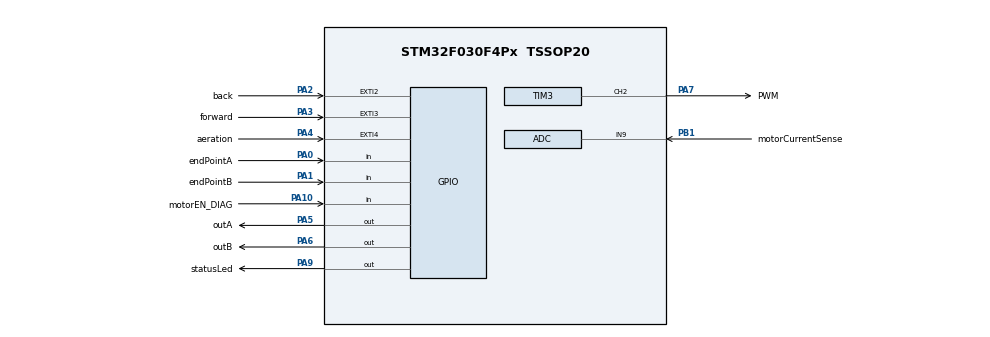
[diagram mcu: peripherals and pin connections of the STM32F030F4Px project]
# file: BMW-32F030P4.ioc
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ADC.ContinuousConvMode=ENABLE
ADC.DataAlign=ADC_DATAALIGN_RIGHT
ADC.Resolution=ADC_RESOLUTION_12B
ADC.SamplingTime=ADC_SAMPLETIME_28CYCLES_5
Mcu.Family=STM32F0
Mcu.Name=STM32F030F4Px
Mcu.Package=TSSOP20
Mcu.UserConstants=backTIM,TIM14;forwardTIM,TIM16;aerationTIM,TIM17
NVIC.EXTI2_3_IRQn=true\:0\:0\:false\:true\:true\:1\:true\:true\:true
NVIC.EXTI4_15_IRQn=true\:0\:0\:false\:true\:true\:2\:true\:true\:true
NVIC.TIM14_IRQn=true\:0\:0\:false\:false\:true\:true\:true\:true
NVIC.TIM16_IRQn=true\:0\:0\:false\:false\:true\:true\:true\:true
NVIC.TIM17_IRQn=true\:0\:0\:false\:false\:true\:true\:true\:true
NVIC.TIM1_BRK_UP_TRG_COM_IRQn=true\:0\:0\:false\:false\:true\:true\:true\:true
NVIC.TIM3_IRQn=true\:0\:0\:false\:false\:true\:true\:true\:true
PA0.GPIO_Label=endPointA
PA0.GPIO_PuPd=GPIO_PULLUP
PA0.Signal=GPIO_Input
PA1.GPIO_Label=endPointB
PA1.GPIO_PuPd=GPIO_PULLUP
PA1.Signal=GPIO_Input
PA10.GPIO_Label=motorEN_DIAG
PA10.GPIO_PuPd=GPIO_PULLUP
PA10.Signal=GPIO_Input
PA13.Mode=Serial_Wire
PA13.Signal=SYS_SWDIO
PA14.Mode=Serial_Wire
PA14.Signal=SYS_SWCLK
PA2.GPIO_Label=back
PA2.GPIO_ModeDefaultEXTI=GPIO_MODE_IT_FALLING
PA2.GPIO_PuPd=GPIO_PULLUP
PA2.Signal=GPXTI2
PA3.GPIO_Label=forward
PA3.GPIO_ModeDefaultEXTI=GPIO_MODE_IT_FALLING
PA3.GPIO_PuPd=GPIO_PULLUP
PA3.Signal=GPXTI3
PA4.GPIO_Label=aeration
PA4.GPIO_ModeDefaultEXTI=GPIO_MODE_IT_FALLING
PA4.GPIO_PuPd=GPIO_PULLUP
PA4.Signal=GPXTI4
PA5.GPIO_Label=outA
PA5.GPIO_PuPd=GPIO_PULLDOWN
PA5.Signal=GPIO_Output
PA6.GPIO_Label=outB
PA6.GPIO_PuPd=GPIO_PULLDOWN
PA6.Signal=GPIO_Output
PA7.GPIO_Label=PWM
PA7.Signal=S_TIM3_CH2
PA9.GPIO_FMA9=__NULL
PA9.GPIO_Label=statusLed
PA9.GPIO_PuPd=GPIO_PULLDOWN
PA9.GPIO_Speed=GPIO_SPEED_FREQ_LOW
PA9.PinState=GPIO_PIN_RESET
PA9.Signal=GPIO_Output
PB1.GPIO_Label=motorCurrentSense
PB1.Mode=IN9
PB1.Signal=ADC_IN9
PF0-OSC_IN.Mode=HSE-External-Oscillator
PF0-OSC_IN.Signal=RCC_OSC_IN
PF1-OSC_OUT.Mode=HSE-External-Oscillator
PF1-OSC_OUT.Signal=RCC_OSC_OUT
ProjectManager.HeapSize=0x200
ProjectManager.StackSize=0x400
ProjectManager.TargetToolchain=STM32CubeIDE
RCC.AHBFreq_Value=48000000
RCC.APB1Freq_Value=48000000
RCC.APB1TimFreq_Value=48000000
RCC.HCLKFreq_Value=48000000
RCC.PLLMUL=RCC_PLL_MUL6
RCC.PLLSourceVirtual=RCC_PLLSOURCE_HSE
RCC.RTCClockSelection=RCC_RTCCLKSOURCE_HSE_DIV32
RCC.SYSCLKFreq_VALUE=48000000
RCC.SYSCLKSource=RCC_SYSCLKSOURCE_PLLCLK
SH.S_TIM3_CH2.0=TIM3_CH2,PWM Generation2 CH2
TIM1.AutoReloadPreload=TIM_AUTORELOAD_PRELOAD_ENABLE
TIM14.AutoReloadPreload=TIM_AUTORELOAD_PRELOAD_ENABLE
TIM14.Period=12500
TIM14.Prescaler=959
TIM16.AutoReloadPreload=TIM_AUTORELOAD_PRELOAD_ENABLE
TIM16.Period=12500
TIM16.Prescaler=959
TIM17.AutoReloadPreload=TIM_AUTORELOAD_PRELOAD_ENABLE
TIM17.Period=12500
TIM17.Prescaler=959
TIM3.Channel-PWM\ Generation2\ CH2=TIM_CHANNEL_2
TIM3.Period=2399
TIM3.Prescaler=1
TIM3.Pulse-PWM\ Generation2\ CH2=2279
VP_CRC_VS_CRC.Mode=CRC_Activate
VP_TIM14_VS_ClockSourceINT.Mode=Enable_Timer
VP_TIM14_VS_OPM.Mode=OPM_bit
VP_TIM16_VS_ClockSourceINT.Mode=Enable_Timer
VP_TIM16_VS_OPM.Mode=OPM_bit
VP_TIM17_VS_ClockSourceINT.Mode=Enable_Timer
VP_TIM17_VS_OPM.Mode=OPM_bit
VP_TIM1_VS_ClockSourceINT.Mode=Internal
VP_TIM3_VS_ClockSourceINT.Mode=Internal
board=custom

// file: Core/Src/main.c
/* USER CODE BEGIN Header */
/**
  ******************************************************************************
  * @file           : main.c
  * @brief          : Main program body
  ******************************************************************************
  * @attention
  *
  * <h2><center>&copy; Copyright (c) 2020 STMicroelectronics.
  * All rights reserved.</center></h2>
  *
  * This software component is licensed by ST under BSD 3-Clause license,
  * the "License"; You may not use this file except in compliance with the
  * License. You may obtain a copy of the License at:
  *                        opensource.org/licenses/BSD-3-Clause
  *
  ******************************************************************************
  */
/* USER CODE END Header */
#include "main.h"

CRC_HandleTypeDef hcrc;

/* USER CODE BEGIN PV */
//uint32_t abc = 0;
volatile bool longPush = false;
volatile bool motorEnable = false;
volatile uint8_t target = 0x00U;
volatile uint8_t endPoint = 0x00U;

volatile bool stopAfterLongPush = false;

volatile uint32_t aeration_time_irq = 0;
volatile uint32_t forward_time_irq = 0;
volatile uint32_t back_time_irq = 0;

volatile bool longPushLock = false;
volatile bool enableWrite = false;

volatile uint32_t res_addr = 0;
myBuf_t flashBuffer[BUFFSIZE] = {0x22, 0x00};

volatile MotorState motorState = BRAKETOGND;
volatile Scenario selectScenario = WAIT;

/* USER CODE END PV */

void SystemClock_Config(void);
void MX_GPIO_Init(void);
void MX_TIM3_Init(void);
void MX_ADC_Init(void);
void MX_TIM1_Init(void);
static void MX_TIM14_Init(void);
static void MX_TIM16_Init(void);
static void MX_TIM17_Init(void);
static void MX_CRC_Init(void);
static void MX_NVIC_Init(void);

int main(void)
{

  /* MCU Configuration--------------------------------------------------------*/

  /* Reset of all peripherals, Initializes the Flash interface and the Systick. */
  HAL_Init();

  /* Configure the system clock */
  SystemClock_Config();

  /* Initialize all configured peripherals */
  MX_GPIO_Init();
  MX_TIM3_Init();
  MX_ADC_Init();
  MX_TIM1_Init();
  MX_TIM14_Init();
  MX_TIM16_Init();
  MX_TIM17_Init();
  MX_CRC_Init();

  /* Initialize interrupts */
  MX_NVIC_Init();
  /* USER CODE BEGIN 2 */

  /* PWM_Start */
  LL_TIM_CC_EnableChannel(TIM3, LL_TIM_CHANNEL_CH2);
  LL_TIM_EnableCounter(TIM3);

  /* timer start */
  LL_TIM_EnableIT_UPDATE(TIM1);
  LL_TIM_EnableCounter(TIM1);

//  HAL_ADCEx_Calibration_Start(&hadc);
//  HAL_ADC_Start(&hadc);

  MotorDriver__init(FULLBRIDGE);
  LL_GPIO_ResetOutputPin(statusLed_GPIO_Port, statusLed_Pin);
  res_addr = flash_search_address(STARTADDR, BUFFSIZE * DATAWIDTH);
  read_last_data_in_flash(flashBuffer);
  while (flashBuffer[subTarget] == 0x22) {
    read_last_data_in_flash(flashBuffer);
    LL_GPIO_ResetOutputPin(statusLed_GPIO_Port, statusLed_Pin);
  }
  /* USER CODE END 2 */

  /* Infinite loop */
  /* USER CODE BEGIN WHILE */
#pragma clang diagnostic push
#pragma ide diagnostic ignored "EndlessLoop"
  while (1) {
    longPush = false;
    if (!(LL_GPIO_ReadInputPort(back_GPIO_Port) & back_Pin)) {
      if ((HAL_GetTick() - back_time_irq) > logPushTime) {
        // засекли нажатие длинее 500мс
        if (longPushLock) {
          longPush = false;
        } else {
          longPush = true;
        }
      }
    }

    if (!(LL_GPIO_ReadInputPort(forward_GPIO_Port) & forward_Pin)) {
      if ((HAL_GetTick() - forward_time_irq) > logPushTime) {
        // засекли нажатие длинее 500мс
        if (longPushLock) {
          longPush = false;
        } else {
          longPush = true;
        }
      }
    }

    if (!(LL_GPIO_ReadInputPort(aeration_GPIO_Port) & aeration_Pin)) {
      if ((HAL_GetTick() - aeration_time_irq) > logPushTime) {
        // засекли нажатие длинее 500мс
        if (longPushLock) {
          longPush = false;
        } else {
          longPush = true;
        }
      }
    }

    //abc = HAL_ADC_GetValue(&hadc);
    //abc = (3.33/4095)*abc; // значение напряжения на пине.

    if (!longPush && stopAfterLongPush) {
      motorEnable = false;
      stopAfterLongPush = false;
    }

    if (flashBuffer[subTarget] == toAeration) {
      LL_GPIO_SetOutputPin(statusLed_GPIO_Port, statusLed_Pin);
      LL_GPIO_ResetOutputPin(statusLed_GPIO_Port, statusLed_Pin);
    }

    switch (selectScenario) {
      case BACK:
        LL_GPIO_SetOutputPin(statusLed_GPIO_Port, statusLed_Pin);
        backScenario();
        break;
      case FORWARD:
        LL_GPIO_SetOutputPin(statusLed_GPIO_Port, statusLed_Pin);
        forwardScenario();
        break;
      case CLOSED_BACK:
        LL_GPIO_SetOutputPin(statusLed_GPIO_Port, statusLed_Pin);
        closedBackScenario();
        break;
      case CLOSED_FRONT:
        LL_GPIO_SetOutputPin(statusLed_GPIO_Port, statusLed_Pin);
        closedFrontScenario();
        break;
      case WAIT:
        LL_GPIO_ResetOutputPin(statusLed_GPIO_Port, statusLed_Pin);
      default:
        MotorDriver__turnOffMotor();
        motorEnable = false;
        break;
    }

    if (longPush) {
      MotorDriver__turnOnMotor(motorState);
      stopAfterLongPush = true;
    } else {
      if (motorEnable) {
        MotorDriver__turnOnMotor(motorState);
      } else {
        MotorDriver__turnOffMotor();
      }
    }

    /* USER CODE END WHILE */

    /* USER CODE BEGIN 3 */
  }
#pragma clang diagnostic pop
  /* USER CODE END 3 */
}

void SystemClock_Config(void)
{
  LL_FLASH_SetLatency(LL_FLASH_LATENCY_1);
  while(LL_FLASH_GetLatency() != LL_FLASH_LATENCY_1)
  {
  }
  LL_RCC_HSE_Enable();

   /* Wait till HSE is ready */
  while(LL_RCC_HSE_IsReady() != 1)
  {

  }
  LL_RCC_HSI14_Enable();

   /* Wait till HSI14 is ready */
  while(LL_RCC_HSI14_IsReady() != 1)
  {

  }
  LL_RCC_HSI14_SetCalibTrimming(16);
  LL_RCC_PLL_ConfigDomain_SYS(LL_RCC_PLLSOURCE_HSE_DIV_1, LL_RCC_PLL_MUL_6);
  LL_RCC_PLL_Enable();

   /* Wait till PLL is ready */
  while(LL_RCC_PLL_IsReady() != 1)
  {

  }
  LL_RCC_SetAHBPrescaler(LL_RCC_SYSCLK_DIV_1);
  LL_RCC_SetAPB1Prescaler(LL_RCC_APB1_DIV_1);
  LL_RCC_SetSysClkSource(LL_RCC_SYS_CLKSOURCE_PLL);

   /* Wait till System clock is ready */
  while(LL_RCC_GetSysClkSource() != LL_RCC_SYS_CLKSOURCE_STATUS_PLL)
  {

  }
  LL_SetSystemCoreClock(48000000);

   /* Update the time base */
  if (HAL_InitTick (TICK_INT_PRIORITY) != HAL_OK)
  {
    Error_Handler();
  }
  LL_RCC_HSI14_EnableADCControl();
}

/**
  * @brief NVIC Configuration.
  * @retval None
  */
static void MX_NVIC_Init(void)
{
  /* EXTI2_3_IRQn interrupt configuration */
  NVIC_SetPriority(EXTI2_3_IRQn, 0);
  NVIC_EnableIRQ(EXTI2_3_IRQn);
  /* EXTI4_15_IRQn interrupt configuration */
  NVIC_SetPriority(EXTI4_15_IRQn, 0);
  NVIC_EnableIRQ(EXTI4_15_IRQn);
}

void MX_ADC_Init(void)
{

  LL_ADC_InitTypeDef ADC_InitStruct = {0};
  LL_ADC_REG_InitTypeDef ADC_REG_InitStruct = {0};

  LL_GPIO_InitTypeDef GPIO_InitStruct = {0};

  /* Peripheral clock enable */
  LL_APB1_GRP2_EnableClock(LL_APB1_GRP2_PERIPH_ADC1);

  LL_AHB1_GRP1_EnableClock(LL_AHB1_GRP1_PERIPH_GPIOB);
  /**ADC GPIO Configuration
  PB1   ------> ADC_IN9
  */
  GPIO_InitStruct.Pin = motorCurrentSense_Pin;
  GPIO_InitStruct.Mode = LL_GPIO_MODE_ANALOG;
  GPIO_InitStruct.Pull = LL_GPIO_PULL_NO;
  LL_GPIO_Init(motorCurrentSense_GPIO_Port, &GPIO_InitStruct);

  /** Configure Regular Channel
  */
  LL_ADC_REG_SetSequencerChAdd(ADC1, LL_ADC_CHANNEL_9);
  /** Configure the global features of the ADC (Clock, Resolution, Data Alignment and number of conversion)
  */
  ADC_InitStruct.Clock = LL_ADC_CLOCK_ASYNC;
  ADC_InitStruct.Resolution = LL_ADC_RESOLUTION_12B;
  ADC_InitStruct.DataAlignment = LL_ADC_DATA_ALIGN_RIGHT;
  ADC_InitStruct.LowPowerMode = LL_ADC_LP_MODE_NONE;
  LL_ADC_Init(ADC1, &ADC_InitStruct);
  ADC_REG_InitStruct.TriggerSource = LL_ADC_REG_TRIG_SOFTWARE;
  ADC_REG_InitStruct.SequencerDiscont = LL_ADC_REG_SEQ_DISCONT_DISABLE;
  ADC_REG_InitStruct.ContinuousMode = LL_ADC_REG_CONV_CONTINUOUS;
  ADC_REG_InitStruct.DMATransfer = LL_ADC_REG_DMA_TRANSFER_LIMITED;
  ADC_REG_InitStruct.Overrun = LL_ADC_REG_OVR_DATA_PRESERVED;
  LL_ADC_REG_Init(ADC1, &ADC_REG_InitStruct);
  LL_ADC_REG_SetSequencerScanDirection(ADC1, LL_ADC_REG_SEQ_SCAN_DIR_FORWARD);
  LL_ADC_SetSamplingTimeCommonChannels(ADC1, LL_ADC_SAMPLINGTIME_28CYCLES_5);

}

static void MX_CRC_Init(void)
{

  hcrc.Instance = CRC;
  hcrc.Init.DefaultInitValueUse = DEFAULT_INIT_VALUE_ENABLE;
  hcrc.Init.InputDataInversionMode = CRC_INPUTDATA_INVERSION_NONE;
  hcrc.Init.OutputDataInversionMode = CRC_OUTPUTDATA_INVERSION_DISABLE;
  hcrc.InputDataFormat = CRC_INPUTDATA_FORMAT_BYTES;
  if (HAL_CRC_Init(&hcrc) != HAL_OK)
  {
    Error_Handler();
  }

}

void MX_TIM1_Init(void)
{

  LL_TIM_InitTypeDef TIM_InitStruct = {0};

  /* Peripheral clock enable */
  LL_APB1_GRP2_EnableClock(LL_APB1_GRP2_PERIPH_TIM1);

  /* TIM1 interrupt Init */
  NVIC_SetPriority(TIM1_BRK_UP_TRG_COM_IRQn, 0);
  NVIC_EnableIRQ(TIM1_BRK_UP_TRG_COM_IRQn);

  TIM_InitStruct.Prescaler = 0;
  TIM_InitStruct.CounterMode = LL_TIM_COUNTERMODE_UP;
  TIM_InitStruct.Autoreload = 65535;
  TIM_InitStruct.ClockDivision = LL_TIM_CLOCKDIVISION_DIV1;
  TIM_InitStruct.RepetitionCounter = 0;
  LL_TIM_Init(TIM1, &TIM_InitStruct);
  LL_TIM_EnableARRPreload(TIM1);
  LL_TIM_SetClockSource(TIM1, LL_TIM_CLOCKSOURCE_INTERNAL);
  LL_TIM_SetTriggerOutput(TIM1, LL_TIM_TRGO_RESET);
  LL_TIM_DisableMasterSlaveMode(TIM1);

}

void MX_TIM3_Init(void)
{

  LL_TIM_InitTypeDef TIM_InitStruct = {0};
  LL_TIM_OC_InitTypeDef TIM_OC_InitStruct = {0};

  LL_GPIO_InitTypeDef GPIO_InitStruct = {0};

  /* Peripheral clock enable */
  LL_APB1_GRP1_EnableClock(LL_APB1_GRP1_PERIPH_TIM3);

  /* TIM3 interrupt Init */
  NVIC_SetPriority(TIM3_IRQn, 0);
  NVIC_EnableIRQ(TIM3_IRQn);

  TIM_InitStruct.Prescaler = 1;
  TIM_InitStruct.CounterMode = LL_TIM_COUNTERMODE_UP;
  TIM_InitStruct.Autoreload = 2399;
  TIM_InitStruct.ClockDivision = LL_TIM_CLOCKDIVISION_DIV1;
  LL_TIM_Init(TIM3, &TIM_InitStruct);
  LL_TIM_DisableARRPreload(TIM3);
  LL_TIM_SetClockSource(TIM3, LL_TIM_CLOCKSOURCE_INTERNAL);
  LL_TIM_OC_EnablePreload(TIM3, LL_TIM_CHANNEL_CH2);
  TIM_OC_InitStruct.OCMode = LL_TIM_OCMODE_PWM1;
  TIM_OC_InitStruct.OCState = LL_TIM_OCSTATE_DISABLE;
  TIM_OC_InitStruct.OCNState = LL_TIM_OCSTATE_DISABLE;
  TIM_OC_InitStruct.CompareValue = 2279;
  TIM_OC_InitStruct.OCPolarity = LL_TIM_OCPOLARITY_HIGH;
  LL_TIM_OC_Init(TIM3, LL_TIM_CHANNEL_CH2, &TIM_OC_InitStruct);
  LL_TIM_OC_DisableFast(TIM3, LL_TIM_CHANNEL_CH2);
  LL_TIM_SetTriggerOutput(TIM3, LL_TIM_TRGO_RESET);
  LL_TIM_DisableMasterSlaveMode(TIM3);
  LL_AHB1_GRP1_EnableClock(LL_AHB1_GRP1_PERIPH_GPIOA);
  /**TIM3 GPIO Configuration
  PA7   ------> TIM3_CH2
  */
  GPIO_InitStruct.Pin = PWM_Pin;
  GPIO_InitStruct.Mode = LL_GPIO_MODE_ALTERNATE;
  GPIO_InitStruct.Speed = LL_GPIO_SPEED_FREQ_LOW;
  GPIO_InitStruct.OutputType = LL_GPIO_OUTPUT_PUSHPULL;
  GPIO_InitStruct.Pull = LL_GPIO_PULL_NO;
  GPIO_InitStruct.Alternate = LL_GPIO_AF_1;
  LL_GPIO_Init(PWM_GPIO_Port, &GPIO_InitStruct);

}

static void MX_TIM14_Init(void)
{

  LL_TIM_InitTypeDef TIM_InitStruct = {0};

  /* Peripheral clock enable */
  LL_APB1_GRP1_EnableClock(LL_APB1_GRP1_PERIPH_TIM14);

  /* TIM14 interrupt Init */
  NVIC_SetPriority(TIM14_IRQn, 0);
  NVIC_EnableIRQ(TIM14_IRQn);

  TIM_InitStruct.Prescaler = 959;
  TIM_InitStruct.CounterMode = LL_TIM_COUNTERMODE_UP;
  TIM_InitStruct.Autoreload = 12500;
  TIM_InitStruct.ClockDivision = LL_TIM_CLOCKDIVISION_DIV1;
  LL_TIM_Init(TIM14, &TIM_InitStruct);
  LL_TIM_EnableARRPreload(TIM14);
  LL_TIM_SetOnePulseMode(TIM14, LL_TIM_ONEPULSEMODE_SINGLE);

}

static void MX_TIM16_Init(void)
{

  LL_TIM_InitTypeDef TIM_InitStruct = {0};

  /* Peripheral clock enable */
  LL_APB1_GRP2_EnableClock(LL_APB1_GRP2_PERIPH_TIM16);

  /* TIM16 interrupt Init */
  NVIC_SetPriority(TIM16_IRQn, 0);
  NVIC_EnableIRQ(TIM16_IRQn);

  TIM_InitStruct.Prescaler = 959;
  TIM_InitStruct.CounterMode = LL_TIM_COUNTERMODE_UP;
  TIM_InitStruct.Autoreload = 12500;
  TIM_InitStruct.ClockDivision = LL_TIM_CLOCKDIVISION_DIV1;
  TIM_InitStruct.RepetitionCounter = 0;
  LL_TIM_Init(TIM16, &TIM_InitStruct);
  LL_TIM_EnableARRPreload(TIM16);
  LL_TIM_SetOnePulseMode(TIM16, LL_TIM_ONEPULSEMODE_SINGLE);

}

static void MX_TIM17_Init(void)
{

  LL_TIM_InitTypeDef TIM_InitStruct = {0};

  /* Peripheral clock enable */
  LL_APB1_GRP2_EnableClock(LL_APB1_GRP2_PERIPH_TIM17);

  /* TIM17 interrupt Init */
  NVIC_SetPriority(TIM17_IRQn, 0);
  NVIC_EnableIRQ(TIM17_IRQn);

  TIM_InitStruct.Prescaler = 959;
  TIM_InitStruct.CounterMode = LL_TIM_COUNTERMODE_UP;
  TIM_InitStruct.Autoreload = 12500;
  TIM_InitStruct.ClockDivision = LL_TIM_CLOCKDIVISION_DIV1;
  TIM_InitStruct.RepetitionCounter = 0;
  LL_TIM_Init(TIM17, &TIM_InitStruct);
  LL_TIM_EnableARRPreload(TIM17);
  LL_TIM_SetOnePulseMode(TIM17, LL_TIM_ONEPULSEMODE_SINGLE);

}

void MX_GPIO_Init(void)
{
  LL_EXTI_InitTypeDef EXTI_InitStruct = {0};
  LL_GPIO_InitTypeDef GPIO_InitStruct = {0};

  /* GPIO Ports Clock Enable */
  LL_AHB1_GRP1_EnableClock(LL_AHB1_GRP1_PERIPH_GPIOF);
  LL_AHB1_GRP1_EnableClock(LL_AHB1_GRP1_PERIPH_GPIOA);
  LL_AHB1_GRP1_EnableClock(LL_AHB1_GRP1_PERIPH_GPIOB);

  /**/
  LL_GPIO_ResetOutputPin(outA_GPIO_Port, outA_Pin);

  /**/
  LL_GPIO_ResetOutputPin(outB_GPIO_Port, outB_Pin);

  /**/
  LL_GPIO_ResetOutputPin(statusLed_GPIO_Port, statusLed_Pin);

  /**/
  GPIO_InitStruct.Pin = endPointA_Pin;
  GPIO_InitStruct.Mode = LL_GPIO_MODE_INPUT;
  GPIO_InitStruct.Pull = LL_GPIO_PULL_UP;
  LL_GPIO_Init(endPointA_GPIO_Port, &GPIO_InitStruct);

  /**/
  GPIO_InitStruct.Pin = endPointB_Pin;
  GPIO_InitStruct.Mode = LL_GPIO_MODE_INPUT;
  GPIO_InitStruct.Pull = LL_GPIO_PULL_UP;
  LL_GPIO_Init(endPointB_GPIO_Port, &GPIO_InitStruct);

  /**/
  GPIO_InitStruct.Pin = outA_Pin;
  GPIO_InitStruct.Mode = LL_GPIO_MODE_OUTPUT;
  GPIO_InitStruct.Speed = LL_GPIO_SPEED_FREQ_LOW;
  GPIO_InitStruct.OutputType = LL_GPIO_OUTPUT_PUSHPULL;
  GPIO_InitStruct.Pull = LL_GPIO_PULL_DOWN;
  LL_GPIO_Init(outA_GPIO_Port, &GPIO_InitStruct);

  /**/
  GPIO_InitStruct.Pin = outB_Pin;
  GPIO_InitStruct.Mode = LL_GPIO_MODE_OUTPUT;
  GPIO_InitStruct.Speed = LL_GPIO_SPEED_FREQ_LOW;
  GPIO_InitStruct.OutputType = LL_GPIO_OUTPUT_PUSHPULL;
  GPIO_InitStruct.Pull = LL_GPIO_PULL_DOWN;
  LL_GPIO_Init(outB_GPIO_Port, &GPIO_InitStruct);

  /**/
  GPIO_InitStruct.Pin = statusLed_Pin;
  GPIO_InitStruct.Mode = LL_GPIO_MODE_OUTPUT;
  GPIO_InitStruct.Speed = LL_GPIO_SPEED_FREQ_LOW;
  GPIO_InitStruct.OutputType = LL_GPIO_OUTPUT_PUSHPULL;
  GPIO_InitStruct.Pull = LL_GPIO_PULL_DOWN;
  LL_GPIO_Init(statusLed_GPIO_Port, &GPIO_InitStruct);

  /**/
  GPIO_InitStruct.Pin = motorEN_DIAG_Pin;
  GPIO_InitStruct.Mode = LL_GPIO_MODE_INPUT;
  GPIO_InitStruct.Pull = LL_GPIO_PULL_UP;
  LL_GPIO_Init(motorEN_DIAG_GPIO_Port, &GPIO_InitStruct);

  /**/
  LL_SYSCFG_SetEXTISource(LL_SYSCFG_EXTI_PORTA, LL_SYSCFG_EXTI_LINE2);

  /**/
  LL_SYSCFG_SetEXTISource(LL_SYSCFG_EXTI_PORTA, LL_SYSCFG_EXTI_LINE3);

  /**/
  LL_SYSCFG_SetEXTISource(LL_SYSCFG_EXTI_PORTA, LL_SYSCFG_EXTI_LINE4);

  /**/
  LL_GPIO_SetPinPull(back_GPIO_Port, back_Pin, LL_GPIO_PULL_UP);

  /**/
  LL_GPIO_SetPinPull(forward_GPIO_Port, forward_Pin, LL_GPIO_PULL_UP);

  /**/
  LL_GPIO_SetPinPull(aeration_GPIO_Port, aeration_Pin, LL_GPIO_PULL_UP);

  /**/
  LL_GPIO_SetPinMode(back_GPIO_Port, back_Pin, LL_GPIO_MODE_INPUT);

  /**/
  LL_GPIO_SetPinMode(forward_GPIO_Port, forward_Pin, LL_GPIO_MODE_INPUT);

  /**/
  LL_GPIO_SetPinMode(aeration_GPIO_Port, aeration_Pin, LL_GPIO_MODE_INPUT);

  /**/
  EXTI_InitStruct.Line_0_31 = LL_EXTI_LINE_2;
  EXTI_InitStruct.LineCommand = ENABLE;
  EXTI_InitStruct.Mode = LL_EXTI_MODE_IT;
  EXTI_InitStruct.Trigger = LL_EXTI_TRIGGER_FALLING;
  LL_EXTI_Init(&EXTI_InitStruct);

  /**/
  EXTI_InitStruct.Line_0_31 = LL_EXTI_LINE_3;
  EXTI_InitStruct.LineCommand = ENABLE;
  EXTI_InitStruct.Mode = LL_EXTI_MODE_IT;
  EXTI_InitStruct.Trigger = LL_EXTI_TRIGGER_FALLING;
  LL_EXTI_Init(&EXTI_InitStruct);

  /**/
  EXTI_InitStruct.Line_0_31 = LL_EXTI_LINE_4;
  EXTI_InitStruct.LineCommand = ENABLE;
  EXTI_InitStruct.Mode = LL_EXTI_MODE_IT;
  EXTI_InitStruct.Trigger = LL_EXTI_TRIGGER_FALLING;
  LL_EXTI_Init(&EXTI_InitStruct);

}

/* USER CODE BEGIN 4 */
void GPIO_EXTI_Callback(uint16_t GPIO_Pin) {
  enableWrite = true;
  if (GPIO_Pin == back_Pin) {
    selectScenario = WAIT;
    motorEnable = motorEnable == false;
    HAL_NVIC_DisableIRQ(back_EXTI_IRQn); // сразу же отключаем прерывания на этом пине
    back_time_irq = HAL_GetTick();
    LL_TIM_EnableIT_UPDATE(backTIM); // запускаем таймер
    LL_TIM_EnableCounter(backTIM);
    longPushLock = false;

    if (MotorDriver__getMotorState() == BRAKETOGND) {
      if (endPoint == closed || endPoint == toOpen) {
        selectScenario = BACK;
        return;
      }

      if (endPoint == open) {
        if (flashBuffer[subTarget] == toAeration) {
          selectScenario = CLOSED_BACK;
          return;
        }
      }

      if (endPoint == toAeration) {
        selectScenario = CLOSED_BACK;
        return;
      }
    }
  }

  if (GPIO_Pin == forward_Pin) {
    selectScenario = WAIT;
    motorEnable = motorEnable == false;
    HAL_NVIC_DisableIRQ(forward_EXTI_IRQn); // сразу же отключаем прерывания на этом пине
    forward_time_irq = HAL_GetTick();
    LL_TIM_EnableIT_UPDATE(forwardTIM); // запускаем таймер
    LL_TIM_EnableCounter(forwardTIM);
    longPushLock = false;

    if (MotorDriver__getMotorState() == BRAKETOGND) {
      if (endPoint == closed || endPoint == toAeration) {
        selectScenario = FORWARD;
        return;
      }

      if (endPoint == open) {
        if (flashBuffer[subTarget] == toOpen) {
          selectScenario = CLOSED_FRONT;
          return;
        }
      }

      if (endPoint == toOpen) {
        selectScenario = CLOSED_FRONT;
        return;
      }
    }
  }

  if (GPIO_Pin == aeration_Pin) {
    selectScenario = WAIT;
    motorEnable = motorEnable == false;
    HAL_NVIC_DisableIRQ(aeration_EXTI_IRQn); // сразу же отключаем прерывания на этом пине
    aeration_time_irq = HAL_GetTick();
    LL_TIM_EnableIT_UPDATE(aerationTIM); // запускаем таймер
    LL_TIM_EnableCounter(aerationTIM);
    longPushLock = false;

    if (MotorDriver__getMotorState() == BRAKETOGND) {
      if (endPoint == closed || endPoint == toAeration) {
        selectScenario = FORWARD;
        return;
      }

      if (endPoint == open) {
        if (flashBuffer[subTarget] == toOpen) {
          selectScenario = CLOSED_FRONT;
          return;
        }
        if (flashBuffer[subTarget] == toAeration) {
          selectScenario = CLOSED_BACK;
          return;
        }
      }

      if (endPoint == toOpen) {
        selectScenario = CLOSED_FRONT;
        return;
      }
    }
  }
}

void TIM1_Callback(void) {
  if (LL_TIM_IsActiveFlag_UPDATE(TIM1)) {
    LL_TIM_ClearFlag_UPDATE(TIM1);
    getEndPointStatus();
  }
}

void BACK_Callback(void) {
  if (LL_TIM_IsActiveFlag_UPDATE(backTIM)) {
    LL_TIM_ClearFlag_UPDATE(backTIM);
    LL_TIM_DisableIT_UPDATE(backTIM); // останавливаем таймер
    LL_GPIO_ResetOutputPin(statusLed_GPIO_Port, statusLed_Pin);// разрешаем кнопать не чаще чем раз в 200мс

    __HAL_GPIO_EXTI_CLEAR_IT(back_Pin);  // очищаем бит EXTI_PR
    NVIC_ClearPendingIRQ(back_EXTI_IRQn); // очищаем бит NVIC_ICPRx
    HAL_NVIC_EnableIRQ(back_EXTI_IRQn);   // включаем внешнее прерывание
  }
}

void FORWARD_Callback(void) {
  if (LL_TIM_IsActiveFlag_UPDATE(forwardTIM)) {
    LL_TIM_ClearFlag_UPDATE(forwardTIM);
    LL_TIM_DisableIT_UPDATE(forwardTIM); // останавливаем таймер
    LL_GPIO_ResetOutputPin(statusLed_GPIO_Port, statusLed_Pin);// разрешаем кнопать не чаще чем раз в 200мс

    __HAL_GPIO_EXTI_CLEAR_IT(forward_Pin);  // очищаем бит EXTI_PR
    NVIC_ClearPendingIRQ(forward_EXTI_IRQn); // очищаем бит NVIC_ICPRx
    HAL_NVIC_EnableIRQ(forward_EXTI_IRQn);   // включаем внешнее прерывание
  }
}

void AERATION_Callback(void) {
  if (LL_TIM_IsActiveFlag_UPDATE(aerationTIM)) {
    LL_TIM_ClearFlag_UPDATE(aerationTIM);
    LL_TIM_DisableIT_UPDATE(aerationTIM); // останавливаем таймер
    LL_GPIO_ResetOutputPin(statusLed_GPIO_Port, statusLed_Pin);// разрешаем кнопать не чаще чем раз в 200мс

    __HAL_GPIO_EXTI_CLEAR_IT(aeration_Pin);  // очищаем бит EXTI_PR
    NVIC_ClearPendingIRQ(aeration_EXTI_IRQn); // очищаем бит NVIC_ICPRx
    HAL_NVIC_EnableIRQ(aeration_EXTI_IRQn);   // включаем внешнее прерывание
  }
}

void backScenario(void) {
  if (endPoint == open && motorState == CLOCKWISE) {
    stopMotor();
    flashBuffer[subTarget] = toOpen;
    if (enableWrite) {
      enableWrite = false;
      write_to_flash(flashBuffer);
    }
    return;
  }
  motorEnable = true;
  motorState = CLOCKWISE;
  return;
}

void closedFrontScenario(void) {
  // сначала до проветривания и потом на закрытие.
  if (endPoint == toAeration) {
    // сменили сценарий закрытия.
    selectScenario = CLOSED_BACK;
    return;
  }
  motorEnable = true;
  motorState = COUNTERCLOCKWISE;
  return;
}

void closedBackScenario(void) {
  if (endPoint == closed) {
    stopMotor();
    return;
  }
  motorEnable = true;
  motorState = CLOCKWISE;
  return;
}

void forwardScenario(void) {
  if (endPoint == open && motorState == COUNTERCLOCKWISE) {
    flashBuffer[subTarget] = toAeration;
    stopMotor();
    if (enableWrite) {
      enableWrite = false;
      write_to_flash(flashBuffer);
    }
    return;
  }
  motorEnable = true;
  motorState = COUNTERCLOCKWISE;
}

void stopMotor(void) {
  motorEnable = false;
  motorState = BRAKETOGND;
  longPushLock = true;
  selectScenario = WAIT;
}

void getEndPointStatus() {
  endPoint = (LL_GPIO_ReadInputPort(endPointA_GPIO_Port) & endPointA_Pin) |
             (LL_GPIO_ReadInputPort(endPointB_GPIO_Port) & endPointB_Pin);
}
/* USER CODE END 4 */

void Error_Handler(void)
{
}

/************************ (C) COPYRIGHT STMicroelectronics *****END OF FILE****/
